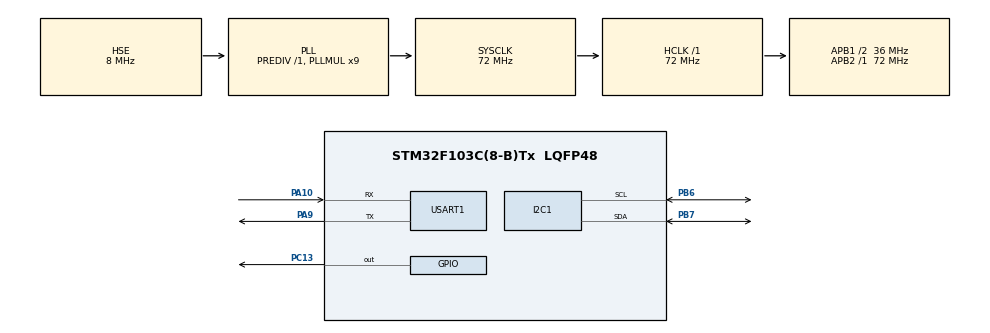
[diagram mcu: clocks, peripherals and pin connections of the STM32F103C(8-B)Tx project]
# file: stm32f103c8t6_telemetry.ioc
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Mcu.Family=STM32F1
Mcu.Name=STM32F103C(8-B)Tx
Mcu.Package=LQFP48
NVIC.PriorityGroup=NVIC_PRIORITYGROUP_4
PA10.Mode=Asynchronous
PA10.Signal=USART1_RX
PA13.Mode=Serial_Wire
PA13.Signal=SYS_JTMS-SWDIO
PA14.Mode=Serial_Wire
PA14.Signal=SYS_JTCK-SWCLK
PA9.Mode=Asynchronous
PA9.Signal=USART1_TX
PB6.Mode=I2C
PB6.Signal=I2C1_SCL
PB7.Mode=I2C
PB7.Signal=I2C1_SDA
PC13-TAMPER-RTC.Signal=GPIO_Output
PD0-OSC_IN.Mode=HSE-External-Oscillator
PD0-OSC_IN.Signal=RCC_OSC_IN
PD1-OSC_OUT.Mode=HSE-External-Oscillator
PD1-OSC_OUT.Signal=RCC_OSC_OUT
ProjectManager.HeapSize=0x200
ProjectManager.StackSize=0x400
ProjectManager.TargetToolchain=STM32CubeIDE
RCC.AHBFreq_Value=72000000
RCC.APB1CLKDivider=RCC_HCLK_DIV2
RCC.APB1Freq_Value=36000000
RCC.APB1TimFreq_Value=72000000
RCC.APB2Freq_Value=72000000
RCC.APB2TimFreq_Value=72000000
RCC.HCLKFreq_Value=72000000
RCC.PLLMUL=RCC_PLL_MUL9
RCC.PLLSourceVirtual=RCC_PLLSOURCE_HSE
RCC.SYSCLKFreq_VALUE=72000000
RCC.SYSCLKSource=RCC_SYSCLKSOURCE_PLLCLK
RCC.USBFreq_Value=72000000
USART1.VirtualMode=VM_ASYNC
board=custom

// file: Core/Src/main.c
/* USER CODE BEGIN Header */
/**
  ******************************************************************************
  * @file           : main.c
  * @brief          : Main program body
  ******************************************************************************
  * @attention
  *
  * Copyright (c) 2026 STMicroelectronics.
  * All rights reserved.
  *
  * This software is licensed under terms that can be found in the LICENSE file
  * in the root directory of this software component.
  * If no LICENSE file comes with this software, it is provided AS-IS.
  *
  ******************************************************************************
  */
/* USER CODE END Header */
#include "main.h"
#include "bmp280.h"
#include "mpu6050.h"
#include "telemetry.h"
#include <stdio.h>
#include <string.h>

I2C_HandleTypeDef hi2c1;

UART_HandleTypeDef huart1;

/* USER CODE BEGIN PV */
BMP280_Data_t       bmp280_data;
MPU6050_Data_t       mpu6050_data;
TelemetryPayload_t   tlm_payload;

/* USER CODE END PV */

void SystemClock_Config(void);
static void MX_GPIO_Init(void);
static void MX_I2C1_Init(void);
static void MX_USART1_UART_Init(void);
/* USER CODE BEGIN PFP */
#ifdef __GNUC__
int __io_putchar(int ch);
#endif
/* USER CODE END PFP */

/* USER CODE BEGIN 0 */
#ifdef __GNUC__
int __io_putchar(int ch)
{
    HAL_UART_Transmit(&huart1, (uint8_t *)&ch, 1, HAL_MAX_DELAY);
    return ch;
}
#endif
/* USER CODE END 0 */

int main(void)
{

  /* MCU Configuration--------------------------------------------------------*/

  /* Reset of all peripherals, Initializes the Flash interface and the Systick. */
  HAL_Init();

  /* Configure the system clock */
  SystemClock_Config();

  /* Initialize all configured peripherals */
  MX_GPIO_Init();
  MX_I2C1_Init();
  MX_USART1_UART_Init();
  /* USER CODE BEGIN 2 */
  printf("\r\n========================================\r\n");
  printf(" Mini Uydu OBC - Baslatiliyor\r\n");
  printf("========================================\r\n");

  /* --- BMP280 --- */
  HAL_StatusTypeDef bmpInit = BMP280_Init(&hi2c1);
  printf("[BMP280] ChipID-status=%d ChipID=0x%02X (beklenen 0x58) -> %s\r\n",
         BMP280_LastStatus, BMP280_LastChipID,
         (bmpInit == HAL_OK) ? "OK" : "HATA");
  if (bmpInit != HAL_OK)
  {
      printf("HATA: BMP280 baslatilamadi!\r\n");
      Error_Handler();
  }

  /* --- MPU6050 --- */
  HAL_StatusTypeDef mpuInit = MPU6050_Init(&hi2c1, MPU6050_ACCEL_RANGE_2G, MPU6050_GYRO_RANGE_250DPS);
  printf("[MPU6050] WhoAmI-status=%d WhoAmI=0x%02X (beklenen 0x68) -> %s\r\n",
         MPU6050_LastStatus, MPU6050_LastWhoAmI,
         (mpuInit == HAL_OK) ? "OK" : "HATA");
  if (mpuInit != HAL_OK)
  {
      printf("HATA: MPU6050 baslatilamadi!\r\n");
      Error_Handler();
  }

  /* --- Telemetri --- */
  Telemetry_Init(&huart1); /* Ayni UART: hem okunabilir metin hem ikili cerceve */
  printf("[TLM] Telemetri modulu hazir (USART1, 115200 baud).\r\n");
  printf("========================================\r\n");
  printf("Tum sistemler hazir, ana donguye giriliyor...\r\n\r\n");

  /* USER CODE END 2 */

  /* Infinite loop */
  /* USER CODE BEGIN WHILE */
  while (1)
  {
	  HAL_StatusTypeDef bmpStatus = BMP280_ReadAll(&bmp280_data);
	      HAL_StatusTypeDef mpuStatus = MPU6050_ReadAll(&mpu6050_data);

	      if (bmpStatus == HAL_OK && mpuStatus == HAL_OK)
	      {
	          /* Telemetri paketini doldur */
	          tlm_payload.temperature_C = bmp280_data.temperature_C;
	          tlm_payload.pressure_hPa  = bmp280_data.pressure_hPa;
	          tlm_payload.altitude_m    = bmp280_data.altitude_m;

	          tlm_payload.accel_x_g = mpu6050_data.accel_x_g;
	          tlm_payload.accel_y_g = mpu6050_data.accel_y_g;
	          tlm_payload.accel_z_g = mpu6050_data.accel_z_g;

	          tlm_payload.gyro_x_dps = mpu6050_data.gyro_x_dps;
	          tlm_payload.gyro_y_dps = mpu6050_data.gyro_y_dps;
	          tlm_payload.gyro_z_dps = mpu6050_data.gyro_z_dps;

	          tlm_payload.imu_temp_C   = mpu6050_data.temperature_C;
	          tlm_payload.timestamp_ms = HAL_GetTick();

	          /* Ikili telemetri cercevesini gonder */
	          Telemetry_Send(&tlm_payload);

	          /* Hizli gorsel dogrulama: son cercevenin hex dokumu.
	           * com0com/tty0tty + Python ile test etmeye basladiktan sonra
	           * bu blogu yorum satiri yapabilirsiniz. */
	          const uint8_t *frameBuf; uint8_t frameLen;
	          Telemetry_GetLastFrame(&frameBuf, &frameLen);
	          printf("[HEX] ");
	          for (uint8_t i = 0; i < frameLen; i++) printf("%02X ", frameBuf[i]);
	          printf("\r\n");

	          /* Insan-okunabilir ozet */
	          printf("[TLM #%lu] T=%.1fC P=%.1fhPa Alt=%.1fm | Ax=%.2f Ay=%.2f Az=%.2f g | Gx=%.1f Gy=%.1f Gz=%.1f dps\r\n",
	                 (unsigned long)Telemetry_GetSentCount(),
	                 tlm_payload.temperature_C, tlm_payload.pressure_hPa, tlm_payload.altitude_m,
	                 tlm_payload.accel_x_g, tlm_payload.accel_y_g, tlm_payload.accel_z_g,
	                 tlm_payload.gyro_x_dps, tlm_payload.gyro_y_dps, tlm_payload.gyro_z_dps);
	      }
	      else
	      {
	          printf("HATA: Sensor okuma basarisiz (BMP=%d, MPU=%d) - paket atlandi.\r\n", bmpStatus, mpuStatus);
	      }

	      HAL_GPIO_TogglePin(GPIOC, GPIO_PIN_13);
	      HAL_Delay(500);
    /* USER CODE END WHILE */

  }
}

void SystemClock_Config(void)
{
  RCC_OscInitTypeDef RCC_OscInitStruct = {0};
  RCC_ClkInitTypeDef RCC_ClkInitStruct = {0};

  /** Initializes the RCC Oscillators according to the specified parameters
  * in the RCC_OscInitTypeDef structure.
  */
  RCC_OscInitStruct.OscillatorType = RCC_OSCILLATORTYPE_HSE;
  RCC_OscInitStruct.HSEState = RCC_HSE_ON;
  RCC_OscInitStruct.HSEPredivValue = RCC_HSE_PREDIV_DIV1;
  RCC_OscInitStruct.HSIState = RCC_HSI_ON;
  RCC_OscInitStruct.PLL.PLLState = RCC_PLL_ON;
  RCC_OscInitStruct.PLL.PLLSource = RCC_PLLSOURCE_HSE;
  RCC_OscInitStruct.PLL.PLLMUL = RCC_PLL_MUL9;
  if (HAL_RCC_OscConfig(&RCC_OscInitStruct) != HAL_OK)
  {
    Error_Handler();
  }

  /** Initializes the CPU, AHB and APB buses clocks
  */
  RCC_ClkInitStruct.ClockType = RCC_CLOCKTYPE_HCLK|RCC_CLOCKTYPE_SYSCLK
                              |RCC_CLOCKTYPE_PCLK1|RCC_CLOCKTYPE_PCLK2;
  RCC_ClkInitStruct.SYSCLKSource = RCC_SYSCLKSOURCE_PLLCLK;
  RCC_ClkInitStruct.AHBCLKDivider = RCC_SYSCLK_DIV1;
  RCC_ClkInitStruct.APB1CLKDivider = RCC_HCLK_DIV2;
  RCC_ClkInitStruct.APB2CLKDivider = RCC_HCLK_DIV1;

  if (HAL_RCC_ClockConfig(&RCC_ClkInitStruct, FLASH_LATENCY_2) != HAL_OK)
  {
    Error_Handler();
  }
}

static void MX_I2C1_Init(void)
{

  hi2c1.Instance = I2C1;
  hi2c1.Init.ClockSpeed = 100000;
  hi2c1.Init.DutyCycle = I2C_DUTYCYCLE_2;
  hi2c1.Init.OwnAddress1 = 0;
  hi2c1.Init.AddressingMode = I2C_ADDRESSINGMODE_7BIT;
  hi2c1.Init.DualAddressMode = I2C_DUALADDRESS_DISABLE;
  hi2c1.Init.OwnAddress2 = 0;
  hi2c1.Init.GeneralCallMode = I2C_GENERALCALL_DISABLE;
  hi2c1.Init.NoStretchMode = I2C_NOSTRETCH_DISABLE;
  if (HAL_I2C_Init(&hi2c1) != HAL_OK)
  {
    Error_Handler();
  }

}

static void MX_USART1_UART_Init(void)
{

  huart1.Instance = USART1;
  huart1.Init.BaudRate = 115200;
  huart1.Init.WordLength = UART_WORDLENGTH_8B;
  huart1.Init.StopBits = UART_STOPBITS_1;
  huart1.Init.Parity = UART_PARITY_NONE;
  huart1.Init.Mode = UART_MODE_TX_RX;
  huart1.Init.HwFlowCtl = UART_HWCONTROL_NONE;
  huart1.Init.OverSampling = UART_OVERSAMPLING_16;
  if (HAL_UART_Init(&huart1) != HAL_OK)
  {
    Error_Handler();
  }

}

static void MX_GPIO_Init(void)
{
  GPIO_InitTypeDef GPIO_InitStruct = {0};

  /* GPIO Ports Clock Enable */
  __HAL_RCC_GPIOC_CLK_ENABLE();
  __HAL_RCC_GPIOD_CLK_ENABLE();
  __HAL_RCC_GPIOA_CLK_ENABLE();
  __HAL_RCC_GPIOB_CLK_ENABLE();

  /*Configure GPIO pin Output Level */
  HAL_GPIO_WritePin(GPIOC, GPIO_PIN_13, GPIO_PIN_RESET);

  /*Configure GPIO pin : PC13 */
  GPIO_InitStruct.Pin = GPIO_PIN_13;
  GPIO_InitStruct.Mode = GPIO_MODE_OUTPUT_PP;
  GPIO_InitStruct.Pull = GPIO_NOPULL;
  GPIO_InitStruct.Speed = GPIO_SPEED_FREQ_LOW;
  HAL_GPIO_Init(GPIOC, &GPIO_InitStruct);

}

void Error_Handler(void)
{
  __disable_irq();
  while (1)
  {
  }
}
